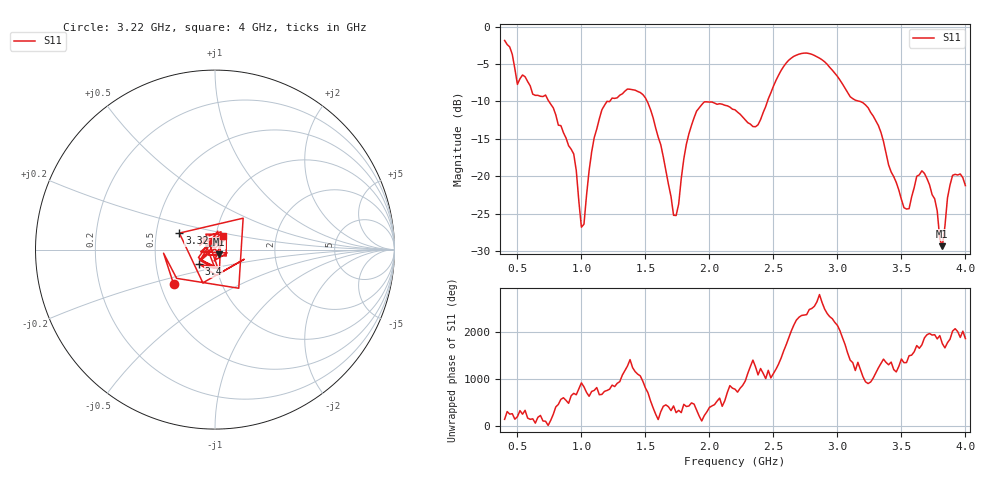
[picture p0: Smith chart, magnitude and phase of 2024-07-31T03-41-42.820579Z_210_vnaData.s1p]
!Created with skrf (http://scikit-rf.org).
# Hz S RI R 50.0
!freq ReS11 ImS11
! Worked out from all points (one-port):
!   181 points, 400 MHz to 4 GHz, reference 50 ohm
!   lowest |S11| = -29.3 dB at 3.82 GHz (marker M1), VSWR 1.07, Z = 52.2 - j2.74 ohm
!   |S11| at or under -10 dB: 746.6 MHz to 1.199 GHz (452.8 MHz wide, 46.5 % of centre); 1.514 GHz to 2.453 GHz (939 MHz wide, 47.3 % of centre); 3.179 GHz to end of sweep (the widest 3 of 4)
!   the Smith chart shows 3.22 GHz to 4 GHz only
!   S11 on the Smith chart (normalised r, x): 3.22 GHz: 0.59, -0.25; 3.32 GHz: 0.66, +0.13; 3.4 GHz: 0.83, -0.13; 4 GHz: 1.09, +0.16
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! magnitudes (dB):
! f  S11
! 400 MHz  -1.9
! 500 MHz  -7.7
! 720 MHz  -9.1
! 860 MHz  -14.2
! 940 MHz  -17.0
! 1 GHz  -26.8
! 1.08 GHz  -16.8
! 1.16 GHz  -11.1
! 1.3 GHz  -9.2
! 1.5 GHz  -9.5
! 1.62 GHz  -15.8
! 1.72 GHz  -25.2
! 1.76 GHz  -23.7
! 1.82 GHz  -15.7
! 1.9 GHz  -11.3
! 2.2 GHz  -11.1
! 2.38 GHz  -13.1
! 2.66 GHz  -4.0
! 2.88 GHz  -4.4
! 3.1 GHz  -9.4
! 3.22 GHz  -10.5
! 3.32 GHz  -13.2
! 3.4 GHz  -18.5
! 3.56 GHz  -24.3
! 3.68 GHz  -19.6
! 3.82 GHz  -29.3
! 3.9 GHz  -19.9
! 4 GHz  -21.2
